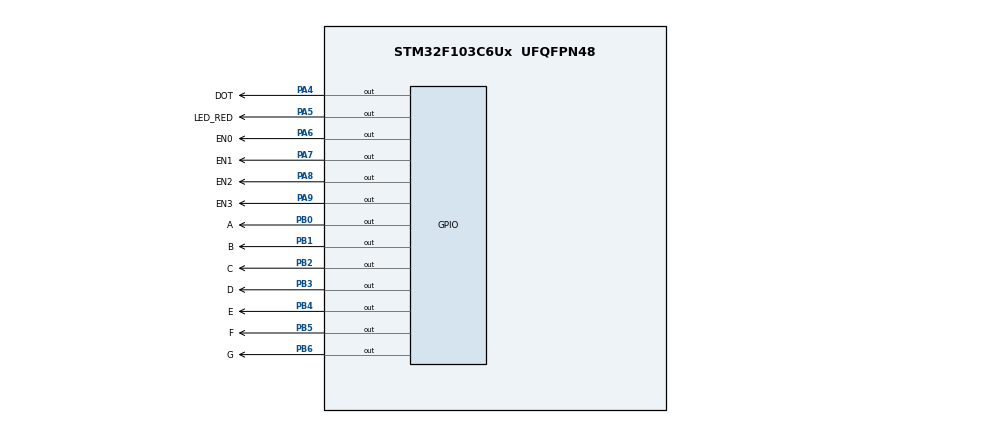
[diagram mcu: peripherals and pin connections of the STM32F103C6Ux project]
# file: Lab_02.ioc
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Mcu.Family=STM32F1
Mcu.Name=STM32F103C6Ux
Mcu.Package=UFQFPN48
NVIC.PriorityGroup=NVIC_PRIORITYGROUP_4
NVIC.TIM2_IRQn=true\:0\:0\:false\:false\:true\:true\:true\:true
PA4.GPIO_Label=DOT
PA4.Signal=GPIO_Output
PA5.GPIO_Label=LED_RED
PA5.Signal=GPIO_Output
PA6.GPIO_Label=EN0
PA6.Signal=GPIO_Output
PA7.GPIO_Label=EN1
PA7.Signal=GPIO_Output
PA8.GPIO_Label=EN2
PA8.Signal=GPIO_Output
PA9.GPIO_Label=EN3
PA9.Signal=GPIO_Output
PB0.GPIO_Label=A
PB0.Signal=GPIO_Output
PB1.GPIO_Label=B
PB1.Signal=GPIO_Output
PB2.GPIO_Label=C
PB2.Signal=GPIO_Output
PB3.GPIO_Label=D
PB3.Signal=GPIO_Output
PB4.GPIO_Label=E
PB4.Signal=GPIO_Output
PB5.GPIO_Label=F
PB5.Signal=GPIO_Output
PB6.GPIO_Label=G
PB6.Signal=GPIO_Output
ProjectManager.HeapSize=0x200
ProjectManager.StackSize=0x400
ProjectManager.TargetToolchain=STM32CubeIDE
RCC.APB1Freq_Value=8000000
RCC.APB2Freq_Value=8000000
TIM2.Period=9
TIM2.Prescaler=7999
VP_TIM2_VS_ClockSourceINT.Mode=Internal
board=custom

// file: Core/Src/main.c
/* USER CODE BEGIN Header */
/**
  ******************************************************************************
  * @file           : main.c
  * @brief          : Main program body
  ******************************************************************************
  * @attention
  *
  * Copyright (c) 2023 STMicroelectronics.
  * All rights reserved.
  *
  * This software is licensed under terms that can be found in the LICENSE file
  * in the root directory of this software component.
  * If no LICENSE file comes with this software, it is provided AS-IS.
  *
  ******************************************************************************
  */
/* USER CODE END Header */
#include "main.h"

TIM_HandleTypeDef htim2;

void SystemClock_Config(void);
static void MX_GPIO_Init(void);
static void MX_TIM2_Init(void);

/* USER CODE BEGIN 0 */

/***********************display7SEG***********************/
void display7SEG (int counter){
	if (counter == 0) {
		HAL_GPIO_WritePin(A_GPIO_Port, A_Pin, RESET);
		HAL_GPIO_WritePin(B_GPIO_Port, B_Pin, RESET);
		HAL_GPIO_WritePin(C_GPIO_Port, C_Pin, RESET);
		HAL_GPIO_WritePin(D_GPIO_Port, D_Pin, RESET);
		HAL_GPIO_WritePin(E_GPIO_Port, E_Pin, RESET);
		HAL_GPIO_WritePin(F_GPIO_Port, F_Pin, RESET);
		HAL_GPIO_WritePin(G_GPIO_Port, G_Pin, SET);
	}
	else if (counter == 1) {
		HAL_GPIO_WritePin(A_GPIO_Port, A_Pin, SET);
		HAL_GPIO_WritePin(B_GPIO_Port, B_Pin, RESET);
		HAL_GPIO_WritePin(C_GPIO_Port, C_Pin, RESET);
		HAL_GPIO_WritePin(D_GPIO_Port, D_Pin, SET);
		HAL_GPIO_WritePin(E_GPIO_Port, E_Pin, SET);
		HAL_GPIO_WritePin(F_GPIO_Port, F_Pin, SET);
		HAL_GPIO_WritePin(G_GPIO_Port, G_Pin, SET);
	}
	else if (counter == 2) {
		HAL_GPIO_WritePin(A_GPIO_Port, A_Pin, RESET);
		HAL_GPIO_WritePin(B_GPIO_Port, B_Pin, RESET);
		HAL_GPIO_WritePin(C_GPIO_Port, C_Pin, SET);
		HAL_GPIO_WritePin(D_GPIO_Port, D_Pin, RESET);
		HAL_GPIO_WritePin(E_GPIO_Port, E_Pin, RESET);
		HAL_GPIO_WritePin(F_GPIO_Port, F_Pin, SET);
		HAL_GPIO_WritePin(G_GPIO_Port, G_Pin, RESET);
	}
	else if (counter == 3) {
		HAL_GPIO_WritePin(A_GPIO_Port, A_Pin, RESET);
		HAL_GPIO_WritePin(B_GPIO_Port, B_Pin, RESET);
		HAL_GPIO_WritePin(C_GPIO_Port, C_Pin, RESET);
		HAL_GPIO_WritePin(D_GPIO_Port, D_Pin, RESET);
		HAL_GPIO_WritePin(E_GPIO_Port, E_Pin, SET);
		HAL_GPIO_WritePin(F_GPIO_Port, F_Pin, SET);
		HAL_GPIO_WritePin(G_GPIO_Port, G_Pin, RESET);
	}
	else if (counter == 4) {
		HAL_GPIO_WritePin(A_GPIO_Port, A_Pin, SET);
		HAL_GPIO_WritePin(B_GPIO_Port, B_Pin, RESET);
		HAL_GPIO_WritePin(C_GPIO_Port, C_Pin, RESET);
		HAL_GPIO_WritePin(D_GPIO_Port, D_Pin, SET);
		HAL_GPIO_WritePin(E_GPIO_Port, E_Pin, SET);
		HAL_GPIO_WritePin(F_GPIO_Port, F_Pin, RESET);
		HAL_GPIO_WritePin(G_GPIO_Port, G_Pin, RESET);
	}
	else if (counter == 5) {
		HAL_GPIO_WritePin(A_GPIO_Port, A_Pin, RESET);
		HAL_GPIO_WritePin(B_GPIO_Port, B_Pin, SET);
		HAL_GPIO_WritePin(C_GPIO_Port, C_Pin, RESET);
		HAL_GPIO_WritePin(D_GPIO_Port, D_Pin, RESET);
		HAL_GPIO_WritePin(E_GPIO_Port, E_Pin, SET);
		HAL_GPIO_WritePin(F_GPIO_Port, F_Pin, RESET);
		HAL_GPIO_WritePin(G_GPIO_Port, G_Pin, RESET);
	}
	else if (counter == 6) {
		HAL_GPIO_WritePin(A_GPIO_Port, A_Pin, RESET);
		HAL_GPIO_WritePin(B_GPIO_Port, B_Pin, SET);
		HAL_GPIO_WritePin(C_GPIO_Port, C_Pin, RESET);
		HAL_GPIO_WritePin(D_GPIO_Port, D_Pin, RESET);
		HAL_GPIO_WritePin(E_GPIO_Port, E_Pin, RESET);
		HAL_GPIO_WritePin(F_GPIO_Port, F_Pin, RESET);
		HAL_GPIO_WritePin(G_GPIO_Port, G_Pin, RESET);
	}
	else if (counter == 7) {
		HAL_GPIO_WritePin(A_GPIO_Port, A_Pin, RESET);
		HAL_GPIO_WritePin(B_GPIO_Port, B_Pin, RESET);
		HAL_GPIO_WritePin(C_GPIO_Port, C_Pin, RESET);
		HAL_GPIO_WritePin(D_GPIO_Port, D_Pin, SET);
		HAL_GPIO_WritePin(E_GPIO_Port, E_Pin, SET);
		HAL_GPIO_WritePin(F_GPIO_Port, F_Pin, SET);
		HAL_GPIO_WritePin(G_GPIO_Port, G_Pin, SET);
	}
	else if (counter == 8) {
		HAL_GPIO_WritePin(A_GPIO_Port, A_Pin, RESET);
		HAL_GPIO_WritePin(B_GPIO_Port, B_Pin, RESET);
		HAL_GPIO_WritePin(C_GPIO_Port, C_Pin, RESET);
		HAL_GPIO_WritePin(D_GPIO_Port, D_Pin, RESET);
		HAL_GPIO_WritePin(E_GPIO_Port, E_Pin, RESET);
		HAL_GPIO_WritePin(F_GPIO_Port, F_Pin, RESET);
		HAL_GPIO_WritePin(G_GPIO_Port, G_Pin, RESET);
	}
	else if (counter == 9) {
		HAL_GPIO_WritePin(A_GPIO_Port, A_Pin, RESET);
		HAL_GPIO_WritePin(B_GPIO_Port, B_Pin, RESET);
		HAL_GPIO_WritePin(C_GPIO_Port, C_Pin, RESET);
		HAL_GPIO_WritePin(D_GPIO_Port, D_Pin, RESET);
		HAL_GPIO_WritePin(E_GPIO_Port, E_Pin, SET);
		HAL_GPIO_WritePin(F_GPIO_Port, F_Pin, RESET);
		HAL_GPIO_WritePin(G_GPIO_Port, G_Pin, RESET);
	}
}
/***********************update7SEG************************/
const int MAX_LED = 4;
int index_led = 0;
int led_buffer[4] = {0, 0, 0, 0};

void update7SEG (int index){
	switch (index){
		case 0:	//first segment LED on with EN0
			HAL_GPIO_WritePin(EN0_GPIO_Port, EN0_Pin, RESET);
			HAL_GPIO_WritePin(EN1_GPIO_Port, EN1_Pin, SET);
			HAL_GPIO_WritePin(EN2_GPIO_Port, EN2_Pin, SET);
			HAL_GPIO_WritePin(EN3_GPIO_Port, EN3_Pin, SET);

			break;
		case 1:	//second segment LED on with EN1
			HAL_GPIO_WritePin(EN0_GPIO_Port, EN0_Pin, SET);
			HAL_GPIO_WritePin(EN1_GPIO_Port, EN1_Pin, RESET);
			HAL_GPIO_WritePin(EN2_GPIO_Port, EN2_Pin, SET);
			HAL_GPIO_WritePin(EN3_GPIO_Port, EN3_Pin, SET);

			break;
		case 2:	//third segment LED on with EN2
			HAL_GPIO_WritePin(EN0_GPIO_Port, EN0_Pin, SET);
			HAL_GPIO_WritePin(EN1_GPIO_Port, EN1_Pin, SET);
			HAL_GPIO_WritePin(EN2_GPIO_Port, EN2_Pin, RESET);
			HAL_GPIO_WritePin(EN3_GPIO_Port, EN3_Pin, SET);

			break;
		case 3:	//last segment LED on with EN3
			HAL_GPIO_WritePin(EN0_GPIO_Port, EN0_Pin, SET);
			HAL_GPIO_WritePin(EN1_GPIO_Port, EN1_Pin, SET);
			HAL_GPIO_WritePin(EN2_GPIO_Port, EN2_Pin, SET);
			HAL_GPIO_WritePin(EN3_GPIO_Port, EN3_Pin, RESET);

			break;
		default:
			break;
	}
	display7SEG(led_buffer[index]);
}

/**********************updateClockBuffer******************/
int hour = 15, minute = 8, second = 50;
void updateClockBuffer(){
	led_buffer[0] = hour / 10;
	led_buffer[1] = hour % 10;
	led_buffer[2] = minute / 10;
	led_buffer[3] = minute % 10;
}

/*********************Exercise 6**************************/
int timer0_counter = 0;
int timer0_flag = 0;
int timer1_counter = 0;
int timer1_flag = 0;
int TIMER_CYCLE = 10;
void setTimer0(int duration){
	timer0_counter = duration /TIMER_CYCLE;
	timer0_flag = 0;
}
void setTimer1(int duration){
	timer1_counter = duration /TIMER_CYCLE;
	timer1_flag = 0;
}
void timer_run(){
	if(timer0_counter > 0){
		timer0_counter--;
		if(timer0_counter == 0) timer0_flag = 1;
	}
	if(timer1_counter > 0){
		timer1_counter--;
		if(timer1_counter == 0) timer1_flag = 1;
	}
}
/* USER CODE END 0 */

int main(void)
{

  /* MCU Configuration--------------------------------------------------------*/

  /* Reset of all peripherals, Initializes the Flash interface and the Systick. */
  HAL_Init();

  /* Configure the system clock */
  SystemClock_Config();

  /* Initialize all configured peripherals */
  MX_GPIO_Init();
  MX_TIM2_Init();
  /* USER CODE BEGIN 2 */
  HAL_TIM_Base_Start_IT (& htim2 ) ;
  /* USER CODE END 2 */

  /* Infinite loop */
  /* USER CODE BEGIN WHILE */
  setTimer0(1000);
  setTimer1(1000);
  while (1)
  {
    /* USER CODE END WHILE */
	  if(timer0_flag == 1){
		  HAL_GPIO_TogglePin(LED_RED_GPIO_Port, LED_RED_Pin); //toggle red led
		  second++;
		  if (second >= 60){
			  second = 0;
			  minute++;
		  }
		  if(minute >= 60){
			  minute = 0;
			  hour++;
		  }
		  if(hour >=24){
			  hour = 0;
		  }
		  updateClockBuffer();
		  if (index_led >= MAX_LED) {
			  index_led = 0;
		  }
		  update7SEG(index_led++);
		  setTimer0(100);
	  }
	  if (timer1_flag == 1){
		  HAL_GPIO_TogglePin(DOT_GPIO_Port, DOT_Pin); //toggle DOT leds
		  setTimer1(1000); //DOT leds blink every second
	  }
  }
}

void SystemClock_Config(void)
{
  RCC_OscInitTypeDef RCC_OscInitStruct = {0};
  RCC_ClkInitTypeDef RCC_ClkInitStruct = {0};

  /** Initializes the RCC Oscillators according to the specified parameters
  * in the RCC_OscInitTypeDef structure.
  */
  RCC_OscInitStruct.OscillatorType = RCC_OSCILLATORTYPE_HSI;
  RCC_OscInitStruct.HSIState = RCC_HSI_ON;
  RCC_OscInitStruct.HSICalibrationValue = RCC_HSICALIBRATION_DEFAULT;
  RCC_OscInitStruct.PLL.PLLState = RCC_PLL_NONE;
  if (HAL_RCC_OscConfig(&RCC_OscInitStruct) != HAL_OK)
  {
    Error_Handler();
  }

  /** Initializes the CPU, AHB and APB buses clocks
  */
  RCC_ClkInitStruct.ClockType = RCC_CLOCKTYPE_HCLK|RCC_CLOCKTYPE_SYSCLK
                              |RCC_CLOCKTYPE_PCLK1|RCC_CLOCKTYPE_PCLK2;
  RCC_ClkInitStruct.SYSCLKSource = RCC_SYSCLKSOURCE_HSI;
  RCC_ClkInitStruct.AHBCLKDivider = RCC_SYSCLK_DIV1;
  RCC_ClkInitStruct.APB1CLKDivider = RCC_HCLK_DIV1;
  RCC_ClkInitStruct.APB2CLKDivider = RCC_HCLK_DIV1;

  if (HAL_RCC_ClockConfig(&RCC_ClkInitStruct, FLASH_LATENCY_0) != HAL_OK)
  {
    Error_Handler();
  }
}

static void MX_TIM2_Init(void)
{

  TIM_ClockConfigTypeDef sClockSourceConfig = {0};
  TIM_MasterConfigTypeDef sMasterConfig = {0};

  htim2.Instance = TIM2;
  htim2.Init.Prescaler = 7999;
  htim2.Init.CounterMode = TIM_COUNTERMODE_UP;
  htim2.Init.Period = 9;
  htim2.Init.ClockDivision = TIM_CLOCKDIVISION_DIV1;
  htim2.Init.AutoReloadPreload = TIM_AUTORELOAD_PRELOAD_DISABLE;
  if (HAL_TIM_Base_Init(&htim2) != HAL_OK)
  {
    Error_Handler();
  }
  sClockSourceConfig.ClockSource = TIM_CLOCKSOURCE_INTERNAL;
  if (HAL_TIM_ConfigClockSource(&htim2, &sClockSourceConfig) != HAL_OK)
  {
    Error_Handler();
  }
  sMasterConfig.MasterOutputTrigger = TIM_TRGO_RESET;
  sMasterConfig.MasterSlaveMode = TIM_MASTERSLAVEMODE_DISABLE;
  if (HAL_TIMEx_MasterConfigSynchronization(&htim2, &sMasterConfig) != HAL_OK)
  {
    Error_Handler();
  }

}

static void MX_GPIO_Init(void)
{
  GPIO_InitTypeDef GPIO_InitStruct = {0};

  /* GPIO Ports Clock Enable */
  __HAL_RCC_GPIOA_CLK_ENABLE();
  __HAL_RCC_GPIOB_CLK_ENABLE();

  /*Configure GPIO pin Output Level */
  HAL_GPIO_WritePin(GPIOA, DOT_Pin|LED_RED_Pin|EN0_Pin|EN1_Pin
                          |EN2_Pin|EN3_Pin, GPIO_PIN_RESET);

  /*Configure GPIO pin Output Level */
  HAL_GPIO_WritePin(GPIOB, A_Pin|B_Pin|C_Pin|D_Pin
                          |E_Pin|F_Pin|G_Pin, GPIO_PIN_RESET);

  /*Configure GPIO pins : DOT_Pin LED_RED_Pin EN0_Pin EN1_Pin
                           EN2_Pin EN3_Pin */
  GPIO_InitStruct.Pin = DOT_Pin|LED_RED_Pin|EN0_Pin|EN1_Pin
                          |EN2_Pin|EN3_Pin;
  GPIO_InitStruct.Mode = GPIO_MODE_OUTPUT_PP;
  GPIO_InitStruct.Pull = GPIO_NOPULL;
  GPIO_InitStruct.Speed = GPIO_SPEED_FREQ_LOW;
  HAL_GPIO_Init(GPIOA, &GPIO_InitStruct);

  /*Configure GPIO pins : A_Pin B_Pin C_Pin D_Pin
                           E_Pin F_Pin G_Pin */
  GPIO_InitStruct.Pin = A_Pin|B_Pin|C_Pin|D_Pin
                          |E_Pin|F_Pin|G_Pin;
  GPIO_InitStruct.Mode = GPIO_MODE_OUTPUT_PP;
  GPIO_InitStruct.Pull = GPIO_NOPULL;
  GPIO_InitStruct.Speed = GPIO_SPEED_FREQ_LOW;
  HAL_GPIO_Init(GPIOB, &GPIO_InitStruct);

}

/* USER CODE BEGIN 4 */
//int counter = 25;
//int DOT_counter = 100;

void HAL_TIM_PeriodElapsedCallback ( TIM_HandleTypeDef * htim )
{
	timer_run();

//	counter--;
//	DOT_counter--;
//	if (DOT_counter < 0){
//		DOT_counter = 100;
//		HAL_GPIO_TogglePin(DOT_GPIO_Port, DOT_Pin);
//	}
//	if (counter < 0){
//		counter = 25;
//		HAL_GPIO_TogglePin(LED_RED_GPIO_Port ,LED_RED_Pin);
//
//	}
}
/* USER CODE END 4 */

void Error_Handler(void)
{
  __disable_irq();
  while (1)
  {
  }
}
